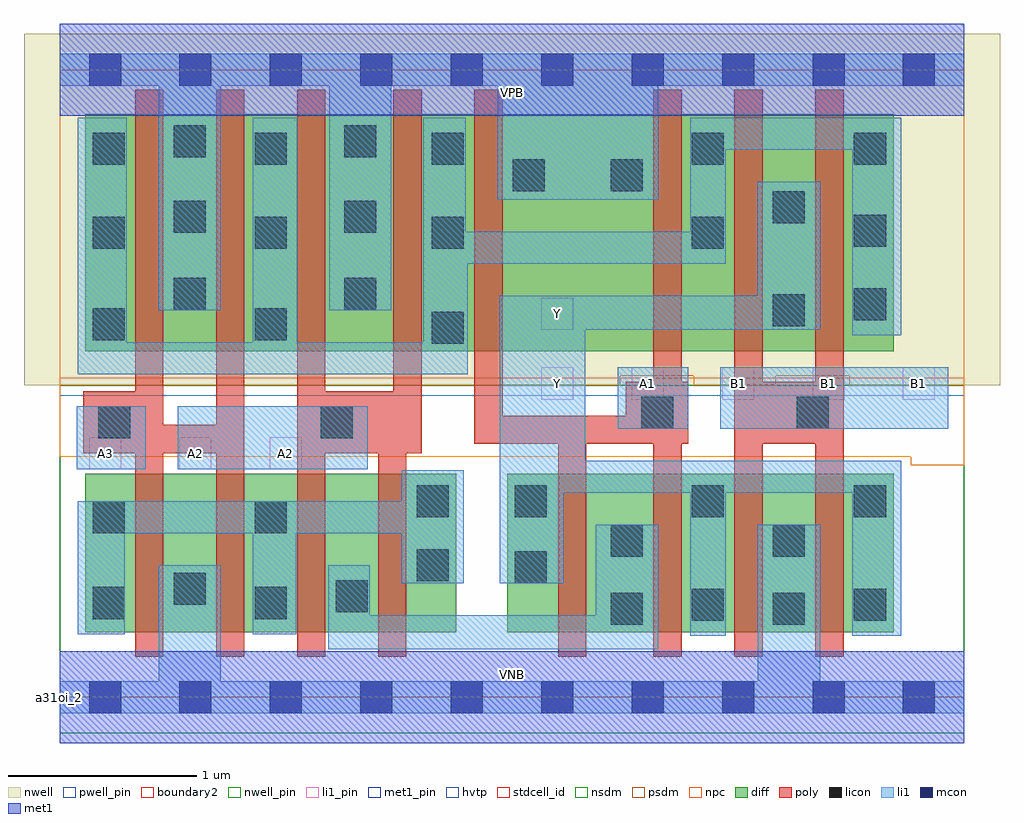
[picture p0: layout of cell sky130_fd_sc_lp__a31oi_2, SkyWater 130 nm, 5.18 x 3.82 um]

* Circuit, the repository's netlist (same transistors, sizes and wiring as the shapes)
* Copyright 2020 The SkyWater PDK Authors
*
* Licensed under the Apache License, Version 2.0 (the "License");
* you may not use this file except in compliance with the License.
* You may obtain a copy of the License at
*
*     https://www.apache.org/licenses/LICENSE-2.0
*
* Unless required by applicable law or agreed to in writing, software
* distributed under the License is distributed on an "AS IS" BASIS,
* WITHOUT WARRANTIES OR CONDITIONS OF ANY KIND, either express or implied.
* See the License for the specific language governing permissions and
* limitations under the License.
*
* SPDX-License-Identifier: Apache-2.0

.SUBCKT sky130_fd_sc_lp__a31oi_2 A1 A2 A3 B1 VGND VNB VPB VPWR Y
*.PININFO A1:I A2:I A3:I B1:I VGND:I VNB:I VPB:I VPWR:I Y:O
MMPA0 pndA A1 VPWR VPB sky130_fd_pr__pfet_01v8_hvt m=2 w=1.26U l=0.15U mult=1 sa=0.265
+ sb=0.265 sd=0.28 area=0.063 perim=1.14
MMPA1 pndA A2 VPWR VPB sky130_fd_pr__pfet_01v8_hvt m=2 w=1.26U l=0.15U mult=1 sa=0.265
+ sb=0.265 sd=0.28 area=0.063 perim=1.14
MMPA2 pndA A3 VPWR VPB sky130_fd_pr__pfet_01v8_hvt m=2 w=1.26U l=0.15U mult=1 sa=0.265
+ sb=0.265 sd=0.28 area=0.063 perim=1.14
MMPB0 Y B1 pndA VPB sky130_fd_pr__pfet_01v8_hvt m=2 w=1.26U l=0.15U mult=1 sa=0.265
+ sb=0.265 sd=0.28 area=0.063 perim=1.14
MMNA0 Y A1 sndA1 VNB sky130_fd_pr__nfet_01v8 m=2 w=0.84U l=0.15U mult=1 sa=0.265
+ sb=0.265 sd=0.28 area=0.063 perim=1.14
MMNA1 sndA1 A2 sndA2 VNB sky130_fd_pr__nfet_01v8 m=2 w=0.84U l=0.15U mult=1 sa=0.265
+ sb=0.265 sd=0.28 area=0.063 perim=1.14
MMNA2 sndA2 A3 VGND VNB sky130_fd_pr__nfet_01v8 m=2 w=0.84U l=0.15U mult=1 sa=0.265
+ sb=0.265 sd=0.28 area=0.063 perim=1.14
MMNB0 Y B1 VGND VNB sky130_fd_pr__nfet_01v8 m=2 w=0.84U l=0.15U mult=1 sa=0.265
+ sb=0.265 sd=0.28 area=0.063 perim=1.14
.ENDS sky130_fd_sc_lp__a31oi_2

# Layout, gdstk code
import gdstk
lib = gdstk.Library(unit=1e-6, precision=1e-09)
def R(c, l, rs):  # rectangles x0, y0, x1, y1
    for r in rs: c.add(gdstk.rectangle(r[:2], r[2:], *l))
def A(c, l, x, y, w, h, nx, ny, dx, dy):  # array of equal rectangles
    R(c, l, [(x+i*dx, y+j*dy, x+i*dx+w, y+j*dy+h) for i in range(nx) for j in range(ny)])
def P(c, l, *ps):  # polygons
    for p in ps: c.add(gdstk.Polygon(p, *l))
nwell_pin = (64, 16)
nwell = (64, 20)
diff = (65, 20)
poly = (66, 20)
licon = (66, 44)
li1_pin = (67, 16)
li1 = (67, 20)
mcon = (67, 44)
met1_pin = (68, 16)
met1 = (68, 20)
hvtp = (78, 44)
stdcell_id = (81, 4)
nsdm = (93, 44)
psdm = (94, 20)
npc = (95, 20)
pwell_pin = (122, 16)
boundary2 = (236, 0)

sky130_fd_sc_lp__a31oi_2 = lib.new_cell('sky130_fd_sc_lp__a31oi_2')
R(sky130_fd_sc_lp__a31oi_2, nwell_pin, [(0,3.085,4.8,3.33)])
R(sky130_fd_sc_lp__a31oi_2, nwell, [(-0.19,1.655,4.99,3.52)])
R(sky130_fd_sc_lp__a31oi_2, diff, [(0.135,0.345,2.105,1.185), (2.375,0.345,4.425,1.185), (0.135,1.835,4.425,3.095)])
P(sky130_fd_sc_lp__a31oi_2, poly, [(0.98,3.225),(0.83,3.225),(0.83,1.445),(0.55,1.445),(0.55,3.225),(0.4,3.225),(0.4,1.625),(0.125,1.625),(0.125,1.295),(0.4,1.295),(0.4,0.215),(0.55,0.215),(0.55,1.295),(0.83,1.295),(0.83,0.215),(0.98,0.215)],
  [(1.92,3.225),(1.77,3.225),(1.77,1.625),(1.41,1.625),(1.41,3.225),(1.26,3.225),(1.26,0.215),(1.41,0.215),(1.41,1.295),(1.69,1.295),(1.69,0.215),(1.84,0.215),(1.84,1.295),(1.92,1.295)],
  [(3.335,1.675),(3.3,1.675),(3.3,3.225),(3.15,3.225),(3.15,1.675),(3.005,1.675),(3.005,1.495),(2.35,1.495),(2.35,3.225),(2.2,3.225),(2.2,1.345),(2.645,1.345),(2.645,0.215),(2.795,0.215),(2.795,1.345),(3.15,1.345),(3.15,0.215),(3.3,0.215),(3.3,1.345),(3.335,1.345)],
  [(4.16,3.225),(4.01,3.225),(4.01,1.675),(3.73,1.675),(3.73,3.225),(3.58,3.225),(3.58,0.215),(3.73,0.215),(3.73,1.345),(4.01,1.345),(4.01,0.215),(4.16,0.215)])
R(sky130_fd_sc_lp__a31oi_2, licon, [(2.925,0.385,3.095,0.555), (3.785,0.385,3.955,0.555), (3.355,0.405,3.525,0.575), (4.215,0.405,4.385,0.575), (0.175,0.415,0.345,0.585), (1.035,0.415,1.205,0.585), (1.465,0.45,1.635,0.62), (0.605,0.49,0.775,0.66), (2.415,0.605,2.585,0.775), (1.895,0.615,2.065,0.785), (2.925,0.745,3.095,0.915), (3.785,0.745,3.955,0.915), (0.175,0.87,0.345,1.04), (1.035,0.87,1.205,1.04), (1.895,0.955,2.065,1.125), (2.415,0.955,2.585,1.125), (3.355,0.955,3.525,1.125), (4.215,0.955,4.385,1.125), (0.205,1.375,0.375,1.545), (1.385,1.375,1.555,1.545), (3.085,1.425,3.255,1.595), (3.91,1.425,4.08,1.595), (1.975,1.875,2.145,2.045), (0.175,1.895,0.345,2.065), (1.035,1.895,1.205,2.065), (3.785,1.97,3.955,2.14), (4.215,2,4.385,2.17), (0.605,2.055,0.775,2.225), (1.51,2.055,1.68,2.225), (0.175,2.38,0.345,2.55), (1.035,2.38,1.205,2.55), (1.975,2.38,2.145,2.55), (3.355,2.38,3.525,2.55), (4.215,2.39,4.385,2.56), (0.605,2.465,0.775,2.635), (1.51,2.465,1.68,2.635), (3.785,2.515,3.955,2.685), (2.405,2.685,2.575,2.855), (2.925,2.685,3.095,2.855), (0.175,2.825,0.345,2.995), (1.035,2.825,1.205,2.995), (1.975,2.825,2.145,2.995), (3.355,2.825,3.525,2.995), (4.215,2.825,4.385,2.995), (0.605,2.865,0.775,3.035), (1.51,2.865,1.68,3.035)])
A(sky130_fd_sc_lp__a31oi_2, li1_pin, 0.155, 1.21, 0.17, 0.17, 3, 1, 0.48, 0)
A(sky130_fd_sc_lp__a31oi_2, li1_pin, 2.555, 1.58, 0.17, 0.17, 5, 1, 0.48, 0)
R(sky130_fd_sc_lp__a31oi_2, li1_pin, [(2.555,1.95,2.725,2.12)])
R(sky130_fd_sc_lp__a31oi_2, li1, [(0.09,1.21,0.455,1.545), (0.625,1.21,1.635,1.545), (2.96,1.425,3.335,1.75), (3.505,1.425,4.715,1.75)])
P(sky130_fd_sc_lp__a31oi_2, li1, [(2.325,2.64),(2.325,3.245),(1.76,3.245),(1.76,2.055),(1.43,2.055),(1.43,3.245),(0.855,3.245),(0.855,2.055),(0.525,2.055),(0.525,3.245),(0,3.245),(0,3.415),(4.8,3.415),(4.8,3.245),(3.175,3.245),(3.175,2.64)],
  [(3.705,0.085),(3.705,0.915),(4.035,0.915),(4.035,0.085),(4.8,0.085),(4.8,-0.085),(0,-0.085),(0,0.085),(0.525,0.085),(0.525,0.7),(0.855,0.7),(0.855,0.085)],
  [(2.335,0.605),(2.335,2.13),(3.705,2.13),(3.705,2.735),(4.035,2.735),(4.035,1.95),(2.79,1.95),(2.79,1.255),(4.465,1.255),(4.465,0.325),(4.205,0.325),(4.205,1.085),(3.535,1.085),(3.535,0.325),(3.345,0.325),(3.345,1.085),(2.675,1.085),(2.675,0.605)],
  [(4.205,2.905),(3.535,2.905),(3.535,2.3),(2.165,2.3),(2.165,1.715),(0.095,1.715),(0.095,3.075),(0.355,3.075),(0.355,1.885),(1.025,1.885),(1.025,3.075),(1.26,3.075),(1.26,1.885),(1.93,1.885),(1.93,3.075),(2.155,3.075),(2.155,2.47),(3.345,2.47),(3.345,3.075),(4.465,3.075),(4.465,1.92),(4.205,1.92)],
  [(1.645,0.435),(2.845,0.435),(2.845,0.915),(3.175,0.915),(3.175,0.255),(1.425,0.255),(1.425,0.7),(1.645,0.7)],
  [(1.815,0.87),(1.255,0.87),(1.255,0.335),(1.025,0.335),(1.025,0.87),(0.345,0.87),(0.345,0.335),(0.095,0.335),(0.095,1.04),(1.815,1.04),(1.815,1.205),(2.145,1.205),(2.145,0.605),(1.815,0.605)])
A(sky130_fd_sc_lp__a31oi_2, mcon, 0.155, -0.085, 0.17, 0.17, 10, 2, 0.48, 3.33)
R(sky130_fd_sc_lp__a31oi_2, met1_pin, [(0,0,4.8,0.245), (0,3.085,4.8,3.33)])
R(sky130_fd_sc_lp__a31oi_2, met1, [(0,-0.245,4.8,0.245), (0,3.085,4.8,3.575)])
R(sky130_fd_sc_lp__a31oi_2, hvtp, [(0,1.6,4.8,3.33)])
R(sky130_fd_sc_lp__a31oi_2, stdcell_id, [(0,0,4.8,3.33)])
R(sky130_fd_sc_lp__a31oi_2, nsdm, [(0,-0.19,4.8,1.655)])
P(sky130_fd_sc_lp__a31oi_2, psdm, [(4.8,3.52),(0,3.52),(0,1.655),(2.975,1.655),(2.975,1.705),(3.365,1.705),(3.365,1.655),(3.8,1.655),(3.8,1.705),(4.19,1.705),(4.19,1.655),(4.8,1.655)])
P(sky130_fd_sc_lp__a31oi_2, npc, [(4.8,1.695),(0,1.695),(0,1.275),(4.515,1.275),(4.515,1.23),(4.8,1.23)])
R(sky130_fd_sc_lp__a31oi_2, pwell_pin, [(0,0,4.8,0.245)])
R(sky130_fd_sc_lp__a31oi_2, boundary2, [(0,0,4.8,3.33)])
sky130_fd_sc_lp__a31oi_2.add(gdstk.Label('VNB', (2.4,0.123), layer=64, texttype=59))
sky130_fd_sc_lp__a31oi_2.add(gdstk.Label('VPB', (2.4,3.208), layer=64, texttype=5))
sky130_fd_sc_lp__a31oi_2.add(gdstk.Label('a31oi_2', (0,0), layer=83, texttype=44))
sky130_fd_sc_lp__a31oi_2.add(gdstk.Label('VPWR', (2.4,3.208), layer=68, texttype=5))
sky130_fd_sc_lp__a31oi_2.add(gdstk.Label('VGND', (2.4,0.123), layer=68, texttype=5))
sky130_fd_sc_lp__a31oi_2.add(gdstk.Label('Y', (2.64,1.665), layer=67, texttype=5))
sky130_fd_sc_lp__a31oi_2.add(gdstk.Label('Y', (2.64,2.035), layer=67, texttype=5))
sky130_fd_sc_lp__a31oi_2.add(gdstk.Label('A1', (3.12,1.665), layer=67, texttype=5))
sky130_fd_sc_lp__a31oi_2.add(gdstk.Label('A2', (0.72,1.295), layer=67, texttype=5))
sky130_fd_sc_lp__a31oi_2.add(gdstk.Label('A2', (1.2,1.295), layer=67, texttype=5))
sky130_fd_sc_lp__a31oi_2.add(gdstk.Label('A3', (0.24,1.295), layer=67, texttype=5))
sky130_fd_sc_lp__a31oi_2.add(gdstk.Label('B1', (3.6,1.665), layer=67, texttype=5))
sky130_fd_sc_lp__a31oi_2.add(gdstk.Label('B1', (4.08,1.665), layer=67, texttype=5))
sky130_fd_sc_lp__a31oi_2.add(gdstk.Label('B1', (4.56,1.665), layer=67, texttype=5))

lib.write_gds('sky130_fd_sc_lp__a31oi_2.gds')
